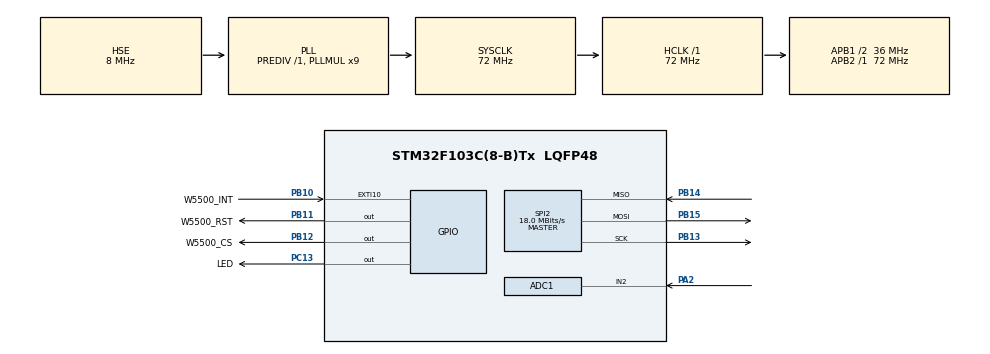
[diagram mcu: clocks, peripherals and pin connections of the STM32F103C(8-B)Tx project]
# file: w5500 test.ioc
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ADC1.Channel-0\#ChannelRegularConversion=ADC_CHANNEL_2
ADC1.NbrOfConversionFlag=1
ADC1.Rank-0\#ChannelRegularConversion=1
ADC1.SamplingTime-0\#ChannelRegularConversion=ADC_SAMPLETIME_1CYCLE_5
ADC1.master=1
Dma.ADC1.2.Direction=DMA_PERIPH_TO_MEMORY
Dma.ADC1.2.Instance=DMA1_Channel1
Dma.ADC1.2.MemDataAlignment=DMA_MDATAALIGN_HALFWORD
Dma.ADC1.2.MemInc=DMA_MINC_ENABLE
Dma.ADC1.2.Mode=DMA_CIRCULAR
Dma.ADC1.2.PeriphDataAlignment=DMA_PDATAALIGN_HALFWORD
Dma.ADC1.2.PeriphInc=DMA_PINC_DISABLE
Dma.ADC1.2.Priority=DMA_PRIORITY_LOW
Dma.Request0=SPI2_TX
Dma.Request1=SPI2_RX
Dma.Request2=ADC1
Dma.SPI2_RX.1.Direction=DMA_PERIPH_TO_MEMORY
Dma.SPI2_RX.1.Instance=DMA1_Channel4
Dma.SPI2_RX.1.MemDataAlignment=DMA_MDATAALIGN_BYTE
Dma.SPI2_RX.1.MemInc=DMA_MINC_ENABLE
Dma.SPI2_RX.1.Mode=DMA_NORMAL
Dma.SPI2_RX.1.PeriphDataAlignment=DMA_PDATAALIGN_BYTE
Dma.SPI2_RX.1.PeriphInc=DMA_PINC_DISABLE
Dma.SPI2_RX.1.Priority=DMA_PRIORITY_LOW
Dma.SPI2_TX.0.Direction=DMA_MEMORY_TO_PERIPH
Dma.SPI2_TX.0.Instance=DMA1_Channel5
Dma.SPI2_TX.0.MemDataAlignment=DMA_MDATAALIGN_BYTE
Dma.SPI2_TX.0.MemInc=DMA_MINC_ENABLE
Dma.SPI2_TX.0.Mode=DMA_NORMAL
Dma.SPI2_TX.0.PeriphDataAlignment=DMA_PDATAALIGN_BYTE
Dma.SPI2_TX.0.PeriphInc=DMA_PINC_DISABLE
Dma.SPI2_TX.0.Priority=DMA_PRIORITY_LOW
Mcu.Family=STM32F1
Mcu.Name=STM32F103C(8-B)Tx
Mcu.Package=LQFP48
NVIC.DMA1_Channel1_IRQn=true\:0\:0\:false\:false\:true\:false\:true\:true
NVIC.DMA1_Channel4_IRQn=true\:0\:0\:false\:false\:true\:false\:true\:true
NVIC.DMA1_Channel5_IRQn=true\:0\:0\:false\:false\:true\:false\:true\:true
NVIC.PriorityGroup=NVIC_PRIORITYGROUP_4
NVIC.TIM2_IRQn=true\:0\:0\:false\:false\:true\:true\:true\:true
PA13.Mode=Serial_Wire
PA13.Signal=SYS_JTMS-SWDIO
PA14.Mode=Serial_Wire
PA14.Signal=SYS_JTCK-SWCLK
PA2.Signal=ADCx_IN2
PB10.GPIO_Label=W5500_INT
PB10.Signal=GPXTI10
PB11.GPIO_Label=W5500_RST
PB11.Signal=GPIO_Output
PB12.GPIO_Label=W5500_CS
PB12.GPIO_PuPd=GPIO_PULLUP
PB12.GPIO_Speed=GPIO_SPEED_FREQ_HIGH
PB12.PinState=GPIO_PIN_SET
PB12.Signal=GPIO_Output
PB13.Mode=Full_Duplex_Master
PB13.Signal=SPI2_SCK
PB14.Mode=Full_Duplex_Master
PB14.Signal=SPI2_MISO
PB15.Mode=Full_Duplex_Master
PB15.Signal=SPI2_MOSI
PC13-TAMPER-RTC.GPIO_Label=LED
PC13-TAMPER-RTC.GPIO_PuPd=GPIO_PULLUP
PC13-TAMPER-RTC.PinState=GPIO_PIN_SET
PC13-TAMPER-RTC.Signal=GPIO_Output
PD0-OSC_IN.Mode=HSE-External-Oscillator
PD0-OSC_IN.Signal=RCC_OSC_IN
PD1-OSC_OUT.Mode=HSE-External-Oscillator
PD1-OSC_OUT.Signal=RCC_OSC_OUT
ProjectManager.HeapSize=0x200
ProjectManager.StackSize=0x400
ProjectManager.TargetToolchain=MDK-ARM V5.32
RCC.ADCPresc=RCC_ADCPCLK2_DIV6
RCC.AHBFreq_Value=72000000
RCC.APB1CLKDivider=RCC_HCLK_DIV2
RCC.APB1Freq_Value=36000000
RCC.APB1TimFreq_Value=72000000
RCC.APB2Freq_Value=72000000
RCC.APB2TimFreq_Value=72000000
RCC.HCLKFreq_Value=72000000
RCC.PLLMUL=RCC_PLL_MUL9
RCC.PLLSourceVirtual=RCC_PLLSOURCE_HSE
RCC.SYSCLKFreq_VALUE=72000000
RCC.SYSCLKSource=RCC_SYSCLKSOURCE_PLLCLK
RCC.USBFreq_Value=72000000
SH.ADCx_IN2.0=ADC1_IN2,IN2
SPI2.CalculateBaudRate=18.0 MBits/s
SPI2.Direction=SPI_DIRECTION_2LINES
SPI2.Mode=SPI_MODE_MASTER
SPI2.VirtualType=VM_MASTER
TIM2.Period=1000-1
TIM2.Prescaler=72-1
VP_TIM2_VS_ClockSourceINT.Mode=Internal
board=custom

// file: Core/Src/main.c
/* USER CODE BEGIN Header */
/**
  ******************************************************************************
  * @file           : main.c
  * @brief          : Main program body
  ******************************************************************************
  * @attention
  *
  * Copyright (c) 2025 STMicroelectronics.
  * All rights reserved.
  *
  * This software is licensed under terms that can be found in the LICENSE file
  * in the root directory of this software component.
  * If no LICENSE file comes with this software, it is provided AS-IS.
  *
  ******************************************************************************
  */
/* USER CODE END Header */
#include "main.h"
#include "adc.h"
#include "dma.h"
#include "spi.h"
#include "tim.h"
#include "gpio.h"

/* USER CODE BEGIN Includes */
#include "W5500.h"
#include "w5500_core.h"
#include "string.h"
#include "net_if.h"
#include "net_dhcp.h"
#include "link_manager.h"
/* USER CODE END Includes */

/* USER CODE BEGIN PV */
uint8_t dhcp_flag = 0;
/* USER CODE END PV */

void SystemClock_Config(void);

int main(void)
{

  /* USER CODE BEGIN 1 */
	uint8_t rx_buffer[128]; // بافر دریافت

  /* USER CODE END 1 */

  /* MCU Configuration--------------------------------------------------------*/

  /* Reset of all peripherals, Initializes the Flash interface and the Systick. */
  HAL_Init();

  /* Configure the system clock */
  SystemClock_Config();

  /* Initialize all configured peripherals */
  MX_GPIO_Init();
  MX_DMA_Init();
  MX_ADC1_Init();
  MX_SPI2_Init();
  MX_TIM2_Init();
  /* USER CODE BEGIN 2 */
	//netif_init_mac();
	HAL_GPIO_WritePin(W5500_CS_GPIO_Port, W5500_CS_Pin, GPIO_PIN_SET); // CS = 1 (غیرفعال)
	HAL_GPIO_WritePin(W5500_RST_GPIO_Port, W5500_RST_Pin, GPIO_PIN_RESET); // RST = 0

	netif_init_mac();
	W5500_Init_DHCP((uint8_t*)netif_get_mac());
	static uint32_t t = 0;
	static uint8_t link = 0;
	static uint8_t ver = 0;
	HAL_TIM_Base_Start_IT(&htim2);
	if(W5500_SocketInit(0, 5000,W5500_SN_MR_P_TCP)) {
		W5500_SocketListen(0);
	}
  /* USER CODE END 2 */

  /* Infinite loop */
  /* USER CODE BEGIN WHILE */
  while(1){
		if(HAL_GetTick() - t > 500){
			t = HAL_GetTick();
		  ver = W5500_ReadByte(W5500_CRB_VERSIONR, W5500_BSB_Common);
			link = W5500_ReadByte(W5500_CRB_PHYCFGR,W5500_BSB_Common) & W5500_PHYCFGR_LNK;
		}
		if(dhcp_flag){
			dhcp_flag = 0;
			dhcp_stateMachine();
		}
		if(has_ip){
		uint8_t status = W5500_ReadByte(W5500_SRB_Sn_SR, W5500_BSB_0_Register);
		switch(status) {
			case W5500_SN_SR_ESTABLISHED:{ // کلاینت وصل شده
				// آیا دیتایی آمده؟
				uint16_t len = W5500_Recv(0, rx_buffer, 128);
				if(len > 0){
					// پایان رشته را نال کنیم برای مقایسه
					rx_buffer[len] = 0;
					if (strstr((char*)rx_buffer, "ON")){
						HAL_GPIO_WritePin(LED_GPIO_Port, LED_Pin, GPIO_PIN_RESET);
						char msg[] = "Command Received: LED ON\r\n";
						W5500_Send(0, (uint8_t*)msg, strlen(msg));
					}
					else if (strstr((char*)rx_buffer, "OFF")){
						HAL_GPIO_WritePin(LED_GPIO_Port, LED_Pin, GPIO_PIN_SET);
						char msg[] = "Command Received: LED OFF\r\n";
						W5500_Send(0, (uint8_t*)msg, strlen(msg));
					}
				}
				break;
			}
			case W5500_SN_SR_CLOSE_WAIT:{ // کلاینت قطع کرد
				W5500_WriteByte(W5500_SRB_Sn_CR, W5500_BSB_0_Register, W5500_SN_CR_DISCON);
				break;
			}
			case W5500_SN_SR_CLOSED:{// سوکت بسته شد، دوباره باز کن
				W5500_SocketInit(0, 5000,W5500_SN_MR_P_TCP);
				W5500_SocketListen(0);
				break;
			}
		}

		HAL_Delay(10);
	}
    /* USER CODE END WHILE */

  }
}

void SystemClock_Config(void)
{
  RCC_OscInitTypeDef RCC_OscInitStruct = {0};
  RCC_ClkInitTypeDef RCC_ClkInitStruct = {0};
  RCC_PeriphCLKInitTypeDef PeriphClkInit = {0};

  /** Initializes the RCC Oscillators according to the specified parameters
  * in the RCC_OscInitTypeDef structure.
  */
  RCC_OscInitStruct.OscillatorType = RCC_OSCILLATORTYPE_HSE;
  RCC_OscInitStruct.HSEState = RCC_HSE_ON;
  RCC_OscInitStruct.HSEPredivValue = RCC_HSE_PREDIV_DIV1;
  RCC_OscInitStruct.HSIState = RCC_HSI_ON;
  RCC_OscInitStruct.PLL.PLLState = RCC_PLL_ON;
  RCC_OscInitStruct.PLL.PLLSource = RCC_PLLSOURCE_HSE;
  RCC_OscInitStruct.PLL.PLLMUL = RCC_PLL_MUL9;
  if (HAL_RCC_OscConfig(&RCC_OscInitStruct) != HAL_OK)
  {
    Error_Handler();
  }

  /** Initializes the CPU, AHB and APB buses clocks
  */
  RCC_ClkInitStruct.ClockType = RCC_CLOCKTYPE_HCLK|RCC_CLOCKTYPE_SYSCLK
                              |RCC_CLOCKTYPE_PCLK1|RCC_CLOCKTYPE_PCLK2;
  RCC_ClkInitStruct.SYSCLKSource = RCC_SYSCLKSOURCE_PLLCLK;
  RCC_ClkInitStruct.AHBCLKDivider = RCC_SYSCLK_DIV1;
  RCC_ClkInitStruct.APB1CLKDivider = RCC_HCLK_DIV2;
  RCC_ClkInitStruct.APB2CLKDivider = RCC_HCLK_DIV1;

  if (HAL_RCC_ClockConfig(&RCC_ClkInitStruct, FLASH_LATENCY_2) != HAL_OK)
  {
    Error_Handler();
  }
  PeriphClkInit.PeriphClockSelection = RCC_PERIPHCLK_ADC;
  PeriphClkInit.AdcClockSelection = RCC_ADCPCLK2_DIV6;
  if (HAL_RCCEx_PeriphCLKConfig(&PeriphClkInit) != HAL_OK)
  {
    Error_Handler();
  }
}

/* USER CODE BEGIN 4 */
void HAL_TIM_PeriodElapsedCallback(TIM_HandleTypeDef* htim){
	if(htim->Instance == TIM2){
		dhcp_flag = 1;
	}
}
/* USER CODE END 4 */

void Error_Handler(void)
{
  __disable_irq();
  while (1)
  {
  }
}
